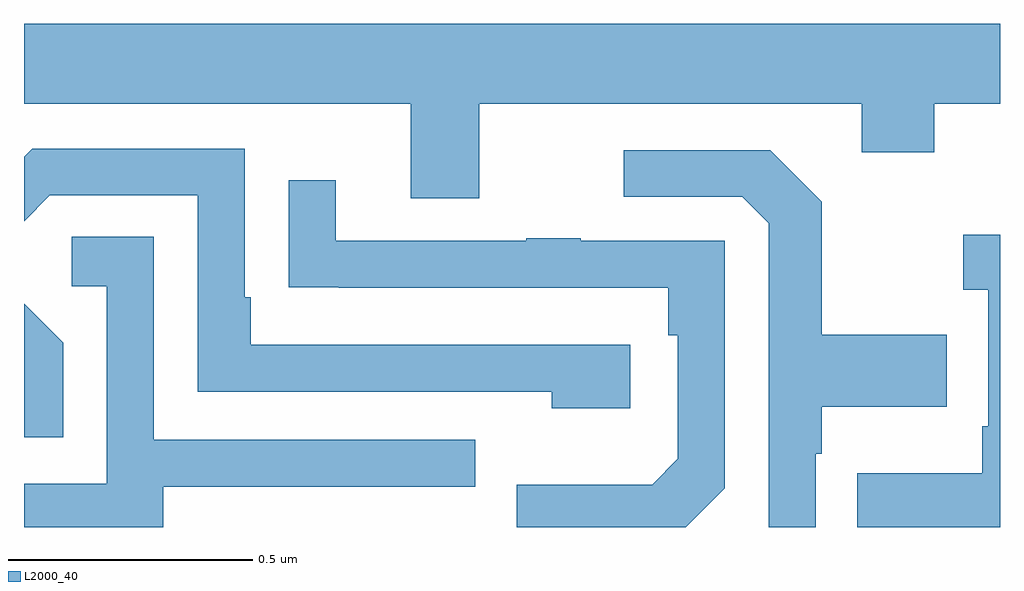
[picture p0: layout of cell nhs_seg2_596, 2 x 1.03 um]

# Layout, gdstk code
import gdstk
lib = gdstk.Library(unit=1e-6, precision=1e-09)
def P(c, l, *ps):  # polygons
    for p in ps: c.add(gdstk.Polygon(p, *l))
L2000_40 = (2000, 40)

nhs_seg2_596 = lib.new_cell('nhs_seg2_596')
P(nhs_seg2_596, L2000_40, [(118.933,615.668),(119.717,615.668),(119.717,615.569),(119.865,615.569),(119.865,615.668),(120,615.668),(120,615.832),(118,615.832),(118,615.668),(118.793,615.668),(118.793,615.474),(118.933,615.474)],
  [(119.242,615.174),(118.465,615.174),(118.465,615.271),(118.452,615.271),(118.452,615.576),(118.017,615.576),(118,615.559),(118,615.427),(118.053,615.48),(118.356,615.48),(118.356,615.078),(119.081,615.078),(119.081,615.044),(119.242,615.044)],
  [(119.622,614.951),(119.635,614.951),(119.635,615.047),(119.891,615.047),(119.891,615.195),(119.635,615.195),(119.635,615.467),(119.529,615.573),(119.229,615.573),(119.229,615.477),(119.472,615.477),(119.526,615.423),(119.526,614.8),(119.622,614.8)],
  [(119.436,614.88),(119.436,615.387),(119.141,615.387),(119.141,615.392),(119.029,615.392),(119.029,615.387),(118.639,615.387),(118.639,615.511),(118.543,615.511),(118.543,615.292),(118.645,615.292),(118.645,615.291),(119.32,615.291),(119.32,615.194),(119.34,615.194),(119.34,614.94),(119.287,614.887),(119.01,614.887),(119.01,614.8),(119.356,614.8)],
  [(120,615.4),(119.925,615.4),(119.925,615.287),(119.976,615.287),(119.976,615.007),(119.964,615.007),(119.964,614.911),(119.707,614.911),(119.707,614.8),(120,614.8)],
  [(118.285,614.883),(118.925,614.883),(118.925,614.979),(118.266,614.979),(118.266,615.395),(118.098,615.395),(118.098,615.294),(118.17,615.294),(118.17,614.889),(118,614.889),(118,614.8),(118.285,614.8)],
  [(118.08,615.178),(118,615.258),(118,614.985),(118.08,614.985)])

lib.write_gds('nhs_seg2_596.gds')
